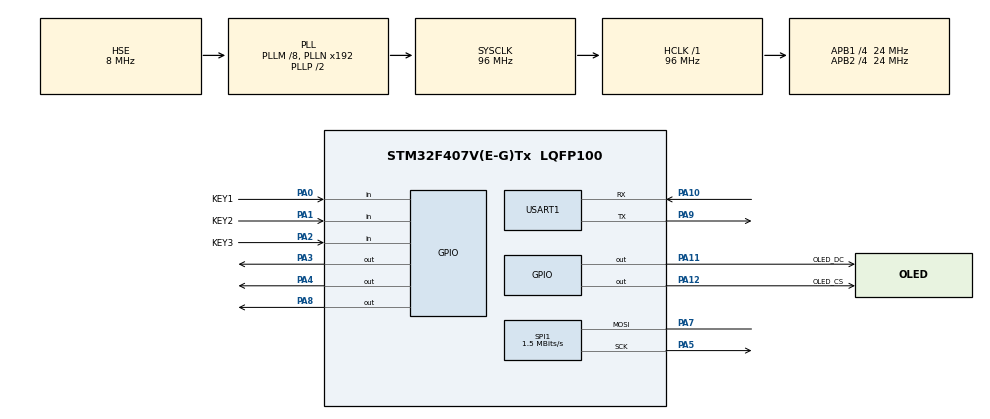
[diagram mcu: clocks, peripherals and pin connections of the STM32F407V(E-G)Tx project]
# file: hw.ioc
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Mcu.Family=STM32F4
Mcu.Name=STM32F407V(E-G)Tx
Mcu.Package=LQFP100
NVIC.PriorityGroup=NVIC_PRIORITYGROUP_4
NVIC.TIM1_BRK_TIM9_IRQn=true\:0\:0\:false\:false\:true\:true
NVIC.TIM1_CC_IRQn=true\:0\:0\:false\:false\:true\:true
NVIC.TIM1_TRG_COM_TIM11_IRQn=true\:0\:0\:false\:false\:true\:true
NVIC.TIM1_UP_TIM10_IRQn=true\:0\:0\:false\:false\:true\:true
NVIC.USART1_IRQn=true\:0\:0\:false\:false\:true\:true
PA0-WKUP.GPIO_Label=KEY1
PA0-WKUP.GPIO_PuPd=GPIO_PULLUP
PA0-WKUP.Signal=GPIO_Input
PA1.GPIO_Label=KEY2
PA1.GPIO_PuPd=GPIO_PULLUP
PA1.Signal=GPIO_Input
PA10.Mode=Asynchronous
PA10.Signal=USART1_RX
PA11.GPIO_Label=OLED_DC
PA11.GPIO_Speed=GPIO_SPEED_FREQ_VERY_HIGH
PA11.PinState=GPIO_PIN_RESET
PA11.Signal=GPIO_Output
PA12.GPIO_Label=OLED_CS
PA12.GPIO_PuPd=GPIO_NOPULL
PA12.GPIO_Speed=GPIO_SPEED_FREQ_VERY_HIGH
PA12.Signal=GPIO_Output
PA13.Mode=Trace_Asynchronous_SW
PA13.Signal=SYS_JTMS-SWDIO
PA14.Mode=Trace_Asynchronous_SW
PA14.Signal=SYS_JTCK-SWCLK
PA2.GPIO_Label=KEY3
PA2.GPIO_PuPd=GPIO_PULLUP
PA2.Signal=GPIO_Input
PA3.GPIO_ModeDefaultOutputPP=GPIO_MODE_OUTPUT_PP
PA3.GPIO_PuPd=GPIO_PULLUP
PA3.Signal=GPIO_Output
PA4.Signal=GPIO_Output
PA5.Mode=Simplex_Bidirectional_Master
PA5.Signal=SPI1_SCK
PA7.Mode=Simplex_Bidirectional_Master
PA7.Signal=SPI1_MOSI
PA8.GPIO_Speed=GPIO_SPEED_FREQ_VERY_HIGH
PA8.Signal=GPIO_Output
PA9.Mode=Asynchronous
PA9.Signal=USART1_TX
PB3.Mode=Trace_Asynchronous_SW
PB3.Signal=SYS_JTDO-SWO
PH0-OSC_IN.Mode=HSE-External-Oscillator
PH0-OSC_IN.Signal=RCC_OSC_IN
PH1-OSC_OUT.Mode=HSE-External-Oscillator
PH1-OSC_OUT.Signal=RCC_OSC_OUT
ProjectManager.HeapSize=0x200
ProjectManager.StackSize=0x400
ProjectManager.TargetToolchain=EWARM
RCC.48MHZClocksFreq_Value=48000000
RCC.AHBFreq_Value=96000000
RCC.APB1CLKDivider=RCC_HCLK_DIV4
RCC.APB1Freq_Value=24000000
RCC.APB1TimFreq_Value=48000000
RCC.APB2CLKDivider=RCC_HCLK_DIV4
RCC.APB2Freq_Value=24000000
RCC.APB2TimFreq_Value=48000000
RCC.CortexFreq_Value=96000000
RCC.HCLKFreq_Value=96000000
RCC.HSE_VALUE=8000000
RCC.HSI_VALUE=16000000
RCC.LSE_VALUE=32768
RCC.PLLM=8
RCC.PLLSourceVirtual=RCC_PLLSOURCE_HSE
RCC.SYSCLKFreq_VALUE=96000000
RCC.SYSCLKSource=RCC_SYSCLKSOURCE_PLLCLK
RCC.VCOOutputFreq_Value=192000000
SPI1.BaudRatePrescaler=SPI_BAUDRATEPRESCALER_16
SPI1.CalculateBaudRate=1.5 MBits/s
SPI1.Direction=SPI_DIRECTION_1LINE
SPI1.Mode=SPI_MODE_MASTER
SPI1.VirtualType=VM_MASTER
TIM1.Period=5000-1
TIM1.Prescaler=48-1
USART1.VirtualMode=VM_ASYNC
VP_TIM1_VS_ClockSourceINT.Mode=Internal
board=custom

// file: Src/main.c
/**
  ******************************************************************************
  * @file           : main.c
  * @brief          : Main program body
  ******************************************************************************
  ** This notice applies to any and all portions of this file
  * that are not between comment pairs USER CODE BEGIN and
  * USER CODE END. Other portions of this file, whether
  * inserted by the user or by software development tools
  * are owned by their respective copyright owners.
  *
  * COPYRIGHT(c) 2018 STMicroelectronics
  *
  * Redistribution and use in source and binary forms, with or without modification,
  * are permitted provided that the following conditions are met:
  *   1. Redistributions of source code must retain the above copyright notice,
  *      this list of conditions and the following disclaimer.
  *   2. Redistributions in binary form must reproduce the above copyright notice,
  *      this list of conditions and the following disclaimer in the documentation
  *      and/or other materials provided with the distribution.
  *   3. Neither the name of STMicroelectronics nor the names of its contributors
  *      may be used to endorse or promote products derived from this software
  *      without specific prior written permission.
  *
  * THIS SOFTWARE IS PROVIDED BY THE COPYRIGHT HOLDERS AND CONTRIBUTORS "AS IS"
  * AND ANY EXPRESS OR IMPLIED WARRANTIES, INCLUDING, BUT NOT LIMITED TO, THE
  * IMPLIED WARRANTIES OF MERCHANTABILITY AND FITNESS FOR A PARTICULAR PURPOSE ARE
  * DISCLAIMED. IN NO EVENT SHALL THE COPYRIGHT HOLDER OR CONTRIBUTORS BE LIABLE
  * FOR ANY DIRECT, INDIRECT, INCIDENTAL, SPECIAL, EXEMPLARY, OR CONSEQUENTIAL
  * DAMAGES (INCLUDING, BUT NOT LIMITED TO, PROCUREMENT OF SUBSTITUTE GOODS OR
  * SERVICES; LOSS OF USE, DATA, OR PROFITS; OR BUSINESS INTERRUPTION) HOWEVER
  * CAUSED AND ON ANY THEORY OF LIABILITY, WHETHER IN CONTRACT, STRICT LIABILITY,
  * OR TORT (INCLUDING NEGLIGENCE OR OTHERWISE) ARISING IN ANY WAY OUT OF THE USE
  * OF THIS SOFTWARE, EVEN IF ADVISED OF THE POSSIBILITY OF SUCH DAMAGE.
  *
  ******************************************************************************
  */
#include "main.h"
#include "stm32f4xx_hal.h"

/* USER CODE BEGIN Includes */
#include "char.c"
#include "time.h"
#include "string.h"
/* USER CODE END Includes */

SPI_HandleTypeDef hspi1;

TIM_HandleTypeDef htim1;

UART_HandleTypeDef huart1;

/* USER CODE BEGIN PV */
/* Private variables ---------------------------------------------------------*/
#define BS 4096
/* USER CODE END PV */

void SystemClock_Config(void);
static void MX_GPIO_Init(void);
static void MX_SPI1_Init(void);
static void MX_USART1_UART_Init(void);
static void MX_TIM1_Init(void);

/* USER CODE BEGIN PFP */
/* Private function prototypes -----------------------------------------------*/

/* USER CODE END PFP */

/* USER CODE BEGIN 0 */
unsigned char send[32]="AT+CIPSEND=0,%d\r\n";
const unsigned char res[512]="HTTP/1.1 200 OK\r\nContent-Type: text/html;charset=UTF-8\r\nContent-Length:%d\r\n\r\n%s";
const unsigned char rcontent[800]="<html><head><script>var time=%ld*1000;window.onload=function(){setInterval(function(){var nd=new Date();nd.setTime(time);document.getElementById(\"tm\")\.innerHTML=nd.toLocaleString();time+=1000},1000)}\n\
function st(){\
var a=new Date(document.getElementById(\"dti\").value+\" \"+document.getElementById(\"tmi\").value);\
if(a!=null){\
var ajax=new XMLHttpRequest();\
ajax.open('get','/?t='+Math.floor(a.getTime()/1000));\
ajax.onreadystatechange=function(){window.location.href='/';};\
ajax.send();\
}\
}\
</script><title>CLOCK</title></head><body>Time:<div id=\"tm\"></div><br>SET:<input type=\"date\" id=\"dti\"></input><input type=\"time\" id=\"tmi\"></input><button onclick=\"st()\">SET</button></body></html>        \r\n";
unsigned char close[32]="\r\nAT+CIPCLOSE=0\r\n";
unsigned char ress[1024];
unsigned char con[1024];
uint8_t dm[8][128];
void oled_cmd(uint8_t a){
  HAL_GPIO_WritePin(GPIOA,OLED_CS_Pin, GPIO_PIN_RESET);
  HAL_GPIO_WritePin(GPIOA,OLED_DC_Pin, GPIO_PIN_RESET);
  //HAL_Delay(2);
  HAL_SPI_Transmit(&hspi1,&a,1,100);
  HAL_GPIO_WritePin(GPIOA,OLED_CS_Pin, GPIO_PIN_SET);
  HAL_GPIO_WritePin(GPIOA,OLED_DC_Pin, GPIO_PIN_SET);
}
void oled_data(uint8_t a){
  HAL_GPIO_WritePin(GPIOA,OLED_CS_Pin, GPIO_PIN_RESET);
  //HAL_Delay(10);
  HAL_SPI_Transmit(&hspi1,&a,1,100);
  HAL_GPIO_WritePin(GPIOA,OLED_CS_Pin, GPIO_PIN_SET);
}
void oclr(void)
{
    uint8_t page,len;
    for(page=0;page<8;page++)
    {
        oled_cmd(0xB0+page);
        oled_cmd(0X00);
        oled_cmd(0X10);
        for(len=0;len<128;len++)
            oled_data(0x0f);
    }
}
void testo(void)
{
    uint8_t page,len;
    for(page=0;page<8;page++)
    {
        oled_cmd(0xB0+page);
        oled_cmd(0X00);
        oled_cmd(0X10);
        for(len=0;len<128;len++)
            oled_data(page*128+len);
    }
}
void display(void)
{
    uint8_t page,len;
    for(page=0;page<8;page++)
    {
        oled_cmd(0xB0+page);
        oled_cmd(0X00);
        oled_cmd(0X10);
        for(len=0;len<128;len++)
            oled_data(dm[page][len]);
    }
}
time_t timestamp;
int mp=0;//mask position 0-5
void mpd(int a){
  mp=(mp+a)%6;
}
void reflash(){
  int i;
  int timestampp=timestamp+8*3600;
    struct tm *p = localtime(&timestampp);
      char timestr[32];
      sprintf(timestr,"%04d/%02d/%02d      %02d:%02d:%02d",(1900+p->tm_year),1+(p->tm_mon), 1+(p->tm_mday), p->tm_hour, p->tm_min, p->tm_sec);
      for(i=0;timestr[i]!='\0';i++){
        uint8_t mk=0;
        if(mp==0&&i>=0&&i<4) mk=0xff;
        if(mp==1&&i>=5&&i<7) mk=0xff;
        if(mp==2&&i>=8&&i<10) mk=0xff;
        if(mp==3&&i>=16&&i<18) mk=0xff;
        if(mp==4&&i>=19&&i<21) mk=0xff;
        if(mp==5&&i>=22&&i<24) mk=0xff;
        charcpy(i/16,i%16,dm,timestr[i],mk);
      }
      display();
}
void changetime(int a){
  switch(mp){
  case 0:
    timestamp+=365*24*3600*a;
    break;
  case 1:
    timestamp+=30*24*3600*a;
    break;
  case 2:
    timestamp+=24*3600*a;
    break;
  case 3:
    timestamp+=3600*a;
    break;
  case 4:
    timestamp+=60*a;
    break;
  case 5:
    timestamp+=a;
    break;
  }
}
unsigned char ubuf[BS];
int head,tail;
int blen(int head,int tail){
  if(head>=tail)
    return head-tail;
  else
    return BS-(tail-head);
}
int pop(unsigned char *a,int len){
  int i;
  if(blen(head,tail)<len)
    return -1;
  else for(i=0;i<len;i++){
    a[i]=ubuf[(tail+i)%BS];
  }
  tail=(len+tail)%BS;
  return 0;
}
int pop1(unsigned char *a,int len){
  int i;
  if(blen(head,tail)<len)
    return -1;
  else for(i=0;i<len;i++){
    a[i]=ubuf[(tail+i)%BS];
  }
  tail=(1+tail)%BS;
  return 0;
}
int push(unsigned char *a,int len){
  int i;
  if(blen(head,tail)+len>=BS)
    return -1;
  else for(i=0;i<len;i++){
    ubuf[(head+i)%BS]=a[i];
  }
  head=(len+head)%BS;
  return 0;
}
int clrr(){
  tail=head;
  return 0;
}
unsigned char buff;
unsigned char espset[6][40]={"AT+CWMODE=3\r\n","AT+RST\r\n","AT+CWSAP=\"CLOCK\",\"11111111\",1,3\r\n","AT+CIPMUX=1\r\n","AT+CIPSERVER=1,80\r\n","ATE0\r\n"};
unsigned char info[16]="AT+CIFSR\r\n";
unsigned char set2[32]="AT+CIPSERVER=1,80\r\n";
/*void ts2str(unsigned int ts,char[] str){
  int year=ts/(1000*60*60*24*365);
  ts=ts-year/4+(year>30)
}*/

/* USER CODE END 0 */

int main(void)
{
  /* USER CODE BEGIN 1 */
  //SystemCoreClockUpdate();

  /* USER CODE END 1 */

  /* MCU Configuration----------------------------------------------------------*/

  /* Reset of all peripherals, Initializes the Flash interface and the Systick. */
  HAL_Init();

  /* Configure the system clock */
  SystemClock_Config();

  /* Initialize all configured peripherals */
  MX_GPIO_Init();
  MX_SPI1_Init();
  MX_USART1_UART_Init();
  MX_TIM1_Init();
  /* USER CODE BEGIN 2 */

  //__HAL_RCC_GPIOA_CLK_EABLE();
  uint8_t spidata[28]={0xAE,0x00,0x40,0xB1,0xFF,0xA1,0xC8,0xA6,0xA8,0x3F,0xD3,0x00,0xD5,0x80,0xD9,0xF1,0xDA,0x12,0xDB,0x40,0x20,0x02,0x8D,0x14,0xA6,0xAF,0xAF};
  HAL_GPIO_WritePin(GPIOA, GPIO_PIN_3, GPIO_PIN_RESET);
  HAL_GPIO_WritePin(GPIOA, GPIO_PIN_4, GPIO_PIN_SET);
  HAL_GPIO_WritePin(GPIOA, GPIO_PIN_8, GPIO_PIN_SET);
  HAL_Delay(200);
  HAL_GPIO_WritePin(GPIOA, GPIO_PIN_8, GPIO_PIN_RESET);
  HAL_Delay(200);
  HAL_GPIO_WritePin(GPIOA, GPIO_PIN_8, GPIO_PIN_SET);
  int i,j;
  for(i=0;i<28;i++){
    oled_cmd(spidata[i]);
  }
  HAL_GPIO_WritePin(GPIOA, GPIO_PIN_4, GPIO_PIN_RESET);
  timestamp=1539600825;
  //testo();
  /*unsigned char tst[]="0123456789test34  gym487@163.com";
  for(i=0;tst[i]!='\0';i++){
    charcpy(i/16,i%16,dm,tst[i]);
  }*/
  /*for(i=0;i<8;i++){
    for(j=0;j<128;j++){
      dm[i][j]=0x0f;
    }
  }*/
  display();

  for(i=0;i<5;i++){
    HAL_UART_Transmit(&huart1,(uint8_t*)espset[i],32,100);
    HAL_Delay(200);
  }
  HAL_UART_Transmit(&huart1,(uint8_t*)info,16,100);
  HAL_UART_Receive_IT(&huart1,(uint8_t *)&buff,1);
  HAL_Delay(200);
  unsigned char ip[20];
  unsigned char aa,bb,cc;
  for(i=0;i<64;i++){
    aa=bb;
    bb=cc;
    pop(&cc,1);
    if(aa=='I'&&bb=='P'&&cc==','){
      //pop(&cc,1);
      for(j=0;j<20;j++){
        pop(&cc,1);
        ip[j]=cc;
      }
    }
  }
  for(i=0;i<16;i++){
    charcpy(3,i,dm,ip[i],0x00);
  }
  display();
  while(pop(&cc,1)==0);
  HAL_TIM_Base_Start_IT(&htim1);
  HAL_UART_Transmit(&huart1,(uint8_t*)set2,32,100);
  unsigned char cmps[6];
  /* USER CODE END 2 */

  /* Infinite loop */
  while (1)
  {

  /* USER CODE BEGIN 3 */
   pop1(cmps,5);
   cmps[5]='\0';
   /* for(i=0;i<5;i++){
          charcpy(2,i,dm,cmps[i],0x00);
    }
    display();*/
    if(strcmp("GET /",cmps)==0){
      HAL_Delay(5);
      unsigned char asdf;
      //unsigned char cmp2[16];
      pop(cmps,4);
      pop(cmps,3);
      cmps[3]='\0';
      for(i=0;i<16;i++){
        charcpy(2,i,dm,cmps[i],0x00);
      }
      display();
      if(strcmp(cmps,"?t=")==0){
        unsigned char asd[15];
        //unsigned char asf[15];
        pop(asd,15);
        //sscanf(asd,"%*[0-9] ",asf);
        sscanf(asd,"%ld ",(long int*)&timestamp);

        //display();
        //timestamp=1539600820;
      }
      cmps[0]='\0';
      /*for(i=0;i<16;i++){
        pop(&asdf,1);
        charcpy(2,i,dm,asdf,0x00);
      }
      display();*/
      clrr();

      unsigned char sendd[32];

      sprintf(con,rcontent,timestamp);
      sprintf(ress,res,strlen(con),con);
      sprintf(sendd,send,strlen(ress));
      HAL_UART_Transmit(&huart1,(uint8_t*)sendd,32,100);
      HAL_Delay(10);
      HAL_UART_Transmit(&huart1,(uint8_t*)ress,strlen(ress),100);
      HAL_Delay(10);
      HAL_UART_Transmit(&huart1,(uint8_t*)close,32,100);
      //HAL_Delay(10);
      HAL_UART_Receive_IT(&huart1,(uint8_t *)&buff,1);
    }
   }
  /* USER CODE END 3 */

}

void SystemClock_Config(void)
{

  RCC_OscInitTypeDef RCC_OscInitStruct;
  RCC_ClkInitTypeDef RCC_ClkInitStruct;

    /**Configure the main internal regulator output voltage
    */
  __HAL_RCC_PWR_CLK_ENABLE();

  __HAL_PWR_VOLTAGESCALING_CONFIG(PWR_REGULATOR_VOLTAGE_SCALE1);

    /**Initializes the CPU, AHB and APB busses clocks
    */
  RCC_OscInitStruct.OscillatorType = RCC_OSCILLATORTYPE_HSE;
  RCC_OscInitStruct.HSEState = RCC_HSE_ON;
  RCC_OscInitStruct.PLL.PLLState = RCC_PLL_ON;
  RCC_OscInitStruct.PLL.PLLSource = RCC_PLLSOURCE_HSE;
  RCC_OscInitStruct.PLL.PLLM = 8;
  RCC_OscInitStruct.PLL.PLLN = 192;
  RCC_OscInitStruct.PLL.PLLP = RCC_PLLP_DIV2;
  RCC_OscInitStruct.PLL.PLLQ = 4;
  if (HAL_RCC_OscConfig(&RCC_OscInitStruct) != HAL_OK)
  {
    _Error_Handler(__FILE__, __LINE__);
  }

    /**Initializes the CPU, AHB and APB busses clocks
    */
  RCC_ClkInitStruct.ClockType = RCC_CLOCKTYPE_HCLK|RCC_CLOCKTYPE_SYSCLK
                              |RCC_CLOCKTYPE_PCLK1|RCC_CLOCKTYPE_PCLK2;
  RCC_ClkInitStruct.SYSCLKSource = RCC_SYSCLKSOURCE_PLLCLK;
  RCC_ClkInitStruct.AHBCLKDivider = RCC_SYSCLK_DIV1;
  RCC_ClkInitStruct.APB1CLKDivider = RCC_HCLK_DIV4;
  RCC_ClkInitStruct.APB2CLKDivider = RCC_HCLK_DIV4;

  if (HAL_RCC_ClockConfig(&RCC_ClkInitStruct, FLASH_LATENCY_3) != HAL_OK)
  {
    _Error_Handler(__FILE__, __LINE__);
  }

    /**Configure the Systick interrupt time
    */
  HAL_SYSTICK_Config(HAL_RCC_GetHCLKFreq()/1000);

    /**Configure the Systick
    */
  HAL_SYSTICK_CLKSourceConfig(SYSTICK_CLKSOURCE_HCLK);

  /* SysTick_IRQn interrupt configuration */
  HAL_NVIC_SetPriority(SysTick_IRQn, 0, 0);
}

/* SPI1 init function */
static void MX_SPI1_Init(void)
{

  /* SPI1 parameter configuration*/
  hspi1.Instance = SPI1;
  hspi1.Init.Mode = SPI_MODE_MASTER;
  hspi1.Init.Direction = SPI_DIRECTION_1LINE;
  hspi1.Init.DataSize = SPI_DATASIZE_8BIT;
  hspi1.Init.CLKPolarity = SPI_POLARITY_LOW;
  hspi1.Init.CLKPhase = SPI_PHASE_1EDGE;
  hspi1.Init.NSS = SPI_NSS_SOFT;
  hspi1.Init.BaudRatePrescaler = SPI_BAUDRATEPRESCALER_16;
  hspi1.Init.FirstBit = SPI_FIRSTBIT_MSB;
  hspi1.Init.TIMode = SPI_TIMODE_DISABLE;
  hspi1.Init.CRCCalculation = SPI_CRCCALCULATION_DISABLE;
  hspi1.Init.CRCPolynomial = 10;
  if (HAL_SPI_Init(&hspi1) != HAL_OK)
  {
    _Error_Handler(__FILE__, __LINE__);
  }

}

/* TIM1 init function */
static void MX_TIM1_Init(void)
{

  TIM_ClockConfigTypeDef sClockSourceConfig;
  TIM_MasterConfigTypeDef sMasterConfig;

  htim1.Instance = TIM1;
  htim1.Init.Prescaler = 48-1;
  htim1.Init.CounterMode = TIM_COUNTERMODE_UP;
  htim1.Init.Period = 5000-1;
  htim1.Init.ClockDivision = TIM_CLOCKDIVISION_DIV1;
  htim1.Init.RepetitionCounter = 0;
  if (HAL_TIM_Base_Init(&htim1) != HAL_OK)
  {
    _Error_Handler(__FILE__, __LINE__);
  }

  sClockSourceConfig.ClockSource = TIM_CLOCKSOURCE_INTERNAL;
  if (HAL_TIM_ConfigClockSource(&htim1, &sClockSourceConfig) != HAL_OK)
  {
    _Error_Handler(__FILE__, __LINE__);
  }

  sMasterConfig.MasterOutputTrigger = TIM_TRGO_RESET;
  sMasterConfig.MasterSlaveMode = TIM_MASTERSLAVEMODE_DISABLE;
  if (HAL_TIMEx_MasterConfigSynchronization(&htim1, &sMasterConfig) != HAL_OK)
  {
    _Error_Handler(__FILE__, __LINE__);
  }

}

/* USART1 init function */
static void MX_USART1_UART_Init(void)
{

  huart1.Instance = USART1;
  huart1.Init.BaudRate = 115200;
  huart1.Init.WordLength = UART_WORDLENGTH_8B;
  huart1.Init.StopBits = UART_STOPBITS_1;
  huart1.Init.Parity = UART_PARITY_NONE;
  huart1.Init.Mode = UART_MODE_TX_RX;
  huart1.Init.HwFlowCtl = UART_HWCONTROL_NONE;
  huart1.Init.OverSampling = UART_OVERSAMPLING_16;
  if (HAL_UART_Init(&huart1) != HAL_OK)
  {
    _Error_Handler(__FILE__, __LINE__);
  }

}

/** Configure pins as
        * Analog
        * Input
        * Output
        * EVENT_OUT
        * EXTI
*/
static void MX_GPIO_Init(void)
{

  GPIO_InitTypeDef GPIO_InitStruct;

  /* GPIO Ports Clock Enable */
  __HAL_RCC_GPIOH_CLK_ENABLE();
  __HAL_RCC_GPIOA_CLK_ENABLE();
  __HAL_RCC_GPIOB_CLK_ENABLE();

  /*Configure GPIO pin Output Level */
  HAL_GPIO_WritePin(GPIOA, GPIO_PIN_3|GPIO_PIN_4|GPIO_PIN_8|OLED_DC_Pin
                          |OLED_CS_Pin, GPIO_PIN_RESET);

  /*Configure GPIO pins : KEY1_Pin KEY2_Pin KEY3_Pin */
  GPIO_InitStruct.Pin = KEY1_Pin|KEY2_Pin|KEY3_Pin;
  GPIO_InitStruct.Mode = GPIO_MODE_INPUT;
  GPIO_InitStruct.Pull = GPIO_PULLUP;
  HAL_GPIO_Init(GPIOA, &GPIO_InitStruct);

  /*Configure GPIO pin : PA3 */
  GPIO_InitStruct.Pin = GPIO_PIN_3;
  GPIO_InitStruct.Mode = GPIO_MODE_OUTPUT_PP;
  GPIO_InitStruct.Pull = GPIO_PULLUP;
  GPIO_InitStruct.Speed = GPIO_SPEED_FREQ_LOW;
  HAL_GPIO_Init(GPIOA, &GPIO_InitStruct);

  /*Configure GPIO pin : PA4 */
  GPIO_InitStruct.Pin = GPIO_PIN_4;
  GPIO_InitStruct.Mode = GPIO_MODE_OUTPUT_PP;
  GPIO_InitStruct.Pull = GPIO_NOPULL;
  GPIO_InitStruct.Speed = GPIO_SPEED_FREQ_LOW;
  HAL_GPIO_Init(GPIOA, &GPIO_InitStruct);

  /*Configure GPIO pins : PA8 OLED_DC_Pin OLED_CS_Pin */
  GPIO_InitStruct.Pin = GPIO_PIN_8|OLED_DC_Pin|OLED_CS_Pin;
  GPIO_InitStruct.Mode = GPIO_MODE_OUTPUT_PP;
  GPIO_InitStruct.Pull = GPIO_NOPULL;
  GPIO_InitStruct.Speed = GPIO_SPEED_FREQ_VERY_HIGH;
  HAL_GPIO_Init(GPIOA, &GPIO_InitStruct);

}

/* USER CODE BEGIN 4 */
int tms=0;
int k1=1,k2=1,k3=1;
unsigned char dpy[16];
void HAL_TIM_PeriodElapsedCallback(TIM_HandleTypeDef *htim)
{
  int len;
  if(htim==&htim1){
    tms++;
    int i;

    if(HAL_GPIO_ReadPin(GPIOA,GPIO_PIN_0)==1&&k1==0){
      mpd(1);
      reflash();
    }

    if(HAL_GPIO_ReadPin(GPIOA,GPIO_PIN_2)==1&&k3==0){
      changetime(-1);
      reflash();
    }

    if(HAL_GPIO_ReadPin(GPIOA,GPIO_PIN_1)==1&&k2==0){
      changetime(+1);
      reflash();
    }

    k1=HAL_GPIO_ReadPin(GPIOA,GPIO_PIN_0);
    k2=HAL_GPIO_ReadPin(GPIOA,GPIO_PIN_1);
    k3=HAL_GPIO_ReadPin(GPIOA,GPIO_PIN_2);

    if((tms%100)==0)
    HAL_GPIO_WritePin(GPIOA,GPIO_PIN_4,(GPIO_PinState)!HAL_GPIO_ReadPin(GPIOA,GPIO_PIN_4));
    HAL_GPIO_WritePin(GPIOA,GPIO_PIN_3,(GPIO_PinState)!HAL_GPIO_ReadPin(GPIOA,GPIO_PIN_4));
    if(tms%200==0){
      timestamp+=1;
      reflash();
     /*if(blen(head,tail)>16){
        pop(dpy,16);
        for(i=0;i<16;i++){
          charcpy(2,i,dm,dpy[i],0x00);
        }
        display();
     }else if(blen(head,tail)>0){
       len=blen(head,tail);
       pop(dpy,len);
        for(i=0;i<len;i++){
          charcpy(2,i,dm,dpy[i],0x00);
        }
        display();
     }*/
    }

  }
}

void HAL_UART_RxCpltCallback(UART_HandleTypeDef *huart)
{
  push(&buff,1);
  HAL_UART_Receive_IT(&huart1,(uint8_t *)&buff,1);
  //HAL_GPIO_WritePin(GPIOA,GPIO_PIN_3,(GPIO_PinState)!HAL_GPIO_ReadPin(GPIOA,GPIO_PIN_3));
}

/* USER CODE END 4 */

void _Error_Handler(char *file, int line)
{
  while(1)
  {
  }
}

/************************ (C) COPYRIGHT STMicroelectronics *****END OF FILE****/
